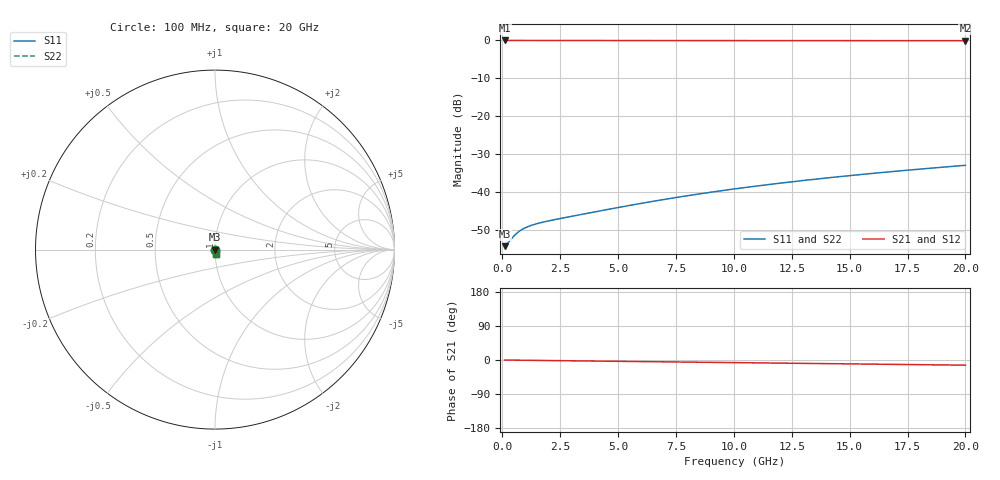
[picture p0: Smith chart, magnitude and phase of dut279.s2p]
! Touchstone file exported from HFSS 2026.1.0
!  File:  C:/ffzhzh/LocalFiles/Ansys_Project_Files/temp_train_BSMRDL_279_1782989083_41620.aedt
!  Generated:  06:45:51 PM Jul  2, 2026
!  Design:  BSMRDL
!  Project:  temp_train_BSMRDL_279_1782989083_41620
! Variables:
!  h_bsmrdl = 2um
!  h_ox = 20um
!  h_rdl = 5um
!  h_sub = 80um
!  h_tmrdl = 5um
!  h_tsv = 80um
!  h_via = 3um
!  l_bsmrdl = 228.21um
!  l_sub = 628.21um
!  l_tmrdl = 200um
!  m_sub = 200um
!  pitch = 31.33um
!  r_tsv = 6um
!  s_tmrdl = 10um
!  w_bsmrdl = 29.02um
!  w_sub = 500um
!  w_tmrdl = 12um
!  x_tsv_center1 = 206um
!  x_tsv_center2 = 463.23um
!  x_tsv_center3 = 675.23um
!  x_tsv_center4 = 932.46um
!  x_tsv_center5 = 1144.46um
!  x_tsv_center6 = 1401.69um
# GHz S MA R 50.000000
! Terminal data exported
! Port[1] = BSM_RDL1_1_T1
! Port[2] = BSM_RDL1_1_T2
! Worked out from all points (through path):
!   200 points, 100 MHz to 20 GHz, reference 50 ohm
!   highest |S21| = -0.02 dB at 100 MHz (marker M1); lowest = -0.1 dB at 20 GHz (marker M2)
!   group delay of S21, straight-line fit = 1.89 ps
!   lowest |S11| = -54.3 dB at 100 MHz (marker M3), VSWR 1.00, Z = 50.2 + j0.0205 ohm
!   |S11| at or under -10 dB: start of sweep to end of sweep
!   |S22| runs from -54.3 to -33.0 dB; largest |S21 - S12| = 2.4e-15
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0.1  0.00192 6.1  0.9981 -0.1  0.9981 -0.1  0.00192 6.1
! Gamma 0 0 0 0
! Port Impedance 50 0 50 0
0.2  0.002045 10.9  0.998 -0.2  0.998 -0.2  0.002045 10.9
0.4  0.002417 14.7  0.9977 -0.3  0.9977 -0.3  0.002417 14.7
0.5  0.002613 14.5  0.9975 -0.4  0.9975 -0.4  0.002613 14.5
0.6  0.002798 13.4  0.9973 -0.5  0.9973 -0.5  0.002798 13.4
0.7  0.002965 11.8  0.9971 -0.6  0.9971 -0.6  0.002965 11.8
0.8  0.003115 10.0  0.9969 -0.6  0.9969 -0.6  0.003115 10.0
0.9  0.003247 7.9  0.9968 -0.7  0.9968 -0.7  0.003248 7.9
1.1  0.003471 3.8  0.9965 -0.8  0.9965 -0.8  0.003471 3.8
1.4  0.003734 -2.1  0.9963 -1.0  0.9963 -1.0  0.003734 -2.1
1.8  0.004014 -9.1  0.996 -1.3  0.996 -1.3  0.004014 -9.1
2.4  0.004386 -18.0  0.9958 -1.7  0.9958 -1.7  0.004387 -18.0
3.5  0.005095 -30.4  0.9955 -2.5  0.9955 -2.5  0.005096 -30.4
5.3  0.006463 -44.3  0.9951 -3.7  0.9951 -3.7  0.006464 -44.2
6.8  0.007774 -52.1  0.9947 -4.7  0.9947 -4.7  0.007777 -52.1
8.4  0.009296 -58.3  0.9943 -5.8  0.9943 -5.8  0.0093 -58.3
10.1  0.01102 -63.4  0.9938 -7.0  0.9938 -7.0  0.01102 -63.4
11.7  0.01271 -67.2  0.9934 -8.1  0.9934 -8.1  0.01272 -67.2
13.4  0.01458 -70.6  0.9929 -9.2  0.9929 -9.2  0.01459 -70.5
15  0.0164 -73.3  0.9924 -10.3  0.9924 -10.3  0.0164 -73.2
16.7  0.01838 -75.7  0.9918 -11.4  0.9918 -11.4  0.01839 -75.7
20  0.02243 -79.8  0.9906 -13.7  0.9906 -13.7  0.02244 -79.7
